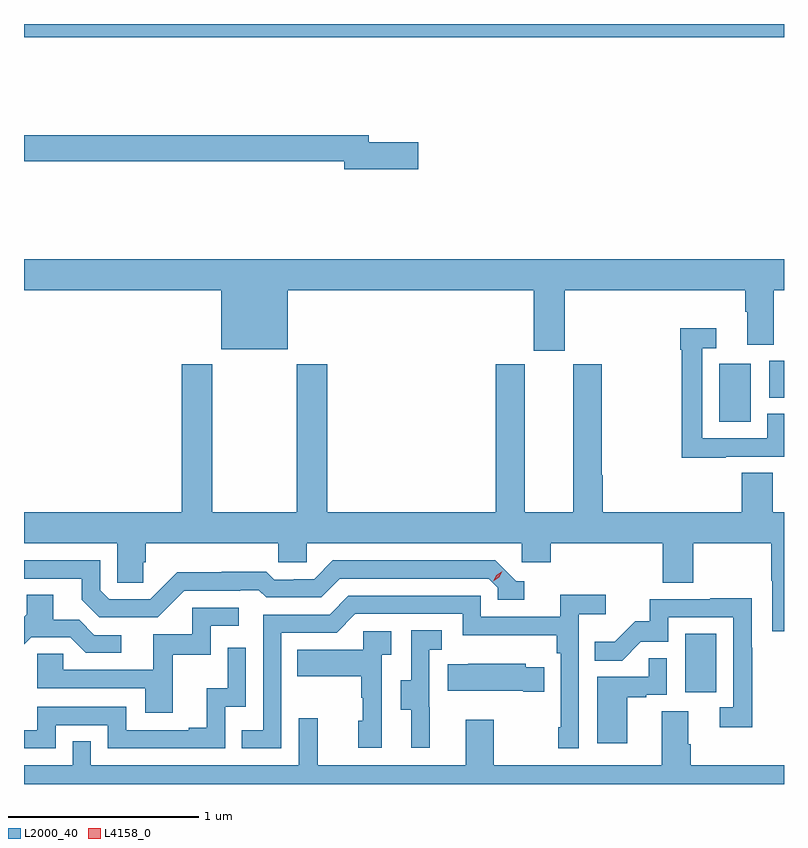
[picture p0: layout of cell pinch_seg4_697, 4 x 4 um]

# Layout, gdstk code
import gdstk
lib = gdstk.Library(unit=1e-6, precision=1e-09)
def R(c, l, rs):  # rectangles x0, y0, x1, y1
    for r in rs: c.add(gdstk.rectangle(r[:2], r[2:], *l))
def P(c, l, *ps):  # polygons
    for p in ps: c.add(gdstk.Polygon(p, *l))
L2000_40 = (2000, 40)
L4158_0 = (4158, 0)

pinch_seg4_697 = lib.new_cell('pinch_seg4_697')
R(pinch_seg4_697, L2000_40, [(1110.86,758.742,1111.024,759.049), (1111.04,760.164,1111.204,760.471), (1111.302,760.291,1111.38,760.485), (1107.38,762.188,1111.38,762.258)])
P(pinch_seg4_697, L2000_40, [(1109.455,761.636),(1109.194,761.636),(1109.194,761.672),(1107.38,761.672),(1107.38,761.536),(1109.066,761.536),(1109.066,761.494),(1109.455,761.494)],
  [(1110.226,760.856),(1111.175,760.856),(1111.175,760.744),(1111.187,760.744),(1111.187,760.57),(1111.327,760.57),(1111.327,760.856),(1111.38,760.856),(1111.38,761.02),(1107.38,761.02),(1107.38,760.856),(1108.418,760.856),(1108.418,760.547),(1108.768,760.547),(1108.768,760.856),(1110.062,760.856),(1110.062,760.539),(1110.226,760.539)],
  [(1111.073,759.981),(1111.38,759.981),(1111.38,760.206),(1111.293,760.206),(1111.293,760.077),(1110.951,760.077),(1110.951,760.551),(1111.024,760.551),(1111.024,760.657),(1110.835,760.657),(1110.835,760.544),(1110.843,760.544),(1110.843,759.976),(1111.073,759.976)],
  [(1111.38,759.688),(1111.322,759.688),(1111.322,759.896),(1111.157,759.896),(1111.157,759.688),(1110.425,759.688),(1110.425,759.884),(1110.42,759.884),(1110.42,760.467),(1110.272,760.467),(1110.272,759.688),(1110.016,759.688),(1110.016,760.467),(1109.864,760.467),(1109.864,759.688),(1108.976,759.688),(1108.976,760.468),(1108.816,760.468),(1108.816,759.688),(1108.371,759.688),(1108.371,760.468),(1108.211,760.468),(1108.211,759.688),(1107.38,759.688),(1107.38,759.524),(1107.87,759.524),(1107.87,759.316),(1108.007,759.316),(1108.007,759.426),(1108.022,759.426),(1108.022,759.524),(1108.719,759.524),(1108.719,759.426),(1108.869,759.426),(1108.869,759.524),(1110,759.524),(1110,759.426),(1110.152,759.426),(1110.152,759.524),(1110.743,759.524),(1110.743,759.316),(1110.903,759.316),(1110.903,759.524),(1111.312,759.524),(1111.312,759.328),(1111.319,759.328),(1111.319,759.063),(1111.38,759.063)],
  [(1108.224,759.276),(1108.517,759.276),(1108.517,759.279),(1108.616,759.279),(1108.655,759.24),(1108.944,759.24),(1109.043,759.339),(1109.826,759.339),(1109.874,759.291),(1109.874,759.228),(1110.013,759.228),(1110.013,759.324),(1109.97,759.324),(1109.859,759.435),(1109.006,759.435),(1108.907,759.336),(1108.8,759.336),(1108.8,759.333),(1108.697,759.333),(1108.655,759.376),(1108.422,759.376),(1108.422,759.373),(1108.186,759.373),(1108.044,759.231),(1107.828,759.231),(1107.78,759.279),(1107.78,759.435),(1107.38,759.435),(1107.38,759.339),(1107.683,759.339),(1107.683,759.229),(1107.777,759.135),(1108.083,759.135)],
  [(1107.892,759.042),(1107.75,759.042),(1107.67,759.122),(1107.535,759.122),(1107.535,759.254),(1107.395,759.254),(1107.395,759.152),(1107.38,759.137),(1107.38,758.993),(1107.417,759.03),(1107.623,759.03),(1107.704,758.949),(1107.892,758.949)],
  [(1108.734,759.054),(1109.025,759.054),(1109.124,759.153),(1109.688,759.153),(1109.688,759.041),(1110.184,759.041),(1110.184,758.945),(1110.204,758.945),(1110.204,758.557),(1110.192,758.557),(1110.192,758.445),(1110.3,758.445),(1110.3,759.152),(1110.442,759.152),(1110.442,759.254),(1110.203,759.254),(1110.203,759.138),(1109.784,759.138),(1109.784,759.249),(1109.087,759.249),(1108.988,759.15),(1108.638,759.15),(1108.638,758.541),(1108.525,758.541),(1108.525,758.445),(1108.734,758.445)],
  [(1111.214,758.975),(1111.209,758.975),(1111.209,759.236),(1110.991,759.236),(1110.991,759.231),(1110.673,759.231),(1110.673,759.114),(1110.596,759.114),(1110.489,759.007),(1110.385,759.007),(1110.385,758.908),(1110.529,758.908),(1110.627,759.006),(1110.771,759.006),(1110.771,759.135),(1111.113,759.135),(1111.113,758.661),(1111.041,758.661),(1111.041,758.556),(1111.214,758.556)],
  [(1108.163,758.937),(1108.362,758.937),(1108.362,759.09),(1108.51,759.09),(1108.51,759.186),(1108.266,759.186),(1108.266,759.045),(1108.061,759.045),(1108.061,758.859),(1107.587,758.859),(1107.587,758.943),(1107.45,758.943),(1107.45,758.763),(1108.019,758.763),(1108.019,758.634),(1108.163,758.634)],
  [(1109.516,758.661),(1109.514,758.661),(1109.514,758.965),(1109.578,758.965),(1109.578,759.068),(1109.418,759.068),(1109.418,758.805),(1109.363,758.805),(1109.363,758.65),(1109.417,758.65),(1109.417,758.448),(1109.516,758.448)],
  [(1109.262,758.939),(1109.314,758.939),(1109.314,759.063),(1109.166,759.063),(1109.166,758.965),(1108.819,758.965),(1108.819,758.825),(1109.154,758.825),(1109.154,758.711),(1109.164,758.711),(1109.164,758.592),(1109.138,758.592),(1109.138,758.448),(1109.262,758.448)],
  [(1107.546,758.568),(1107.822,758.568),(1107.822,758.445),(1108.44,758.445),(1108.44,758.664),(1108.548,758.664),(1108.548,758.974),(1108.452,758.974),(1108.452,758.762),(1108.343,758.762),(1108.343,758.554),(1108.247,758.554),(1108.247,758.541),(1107.918,758.541),(1107.918,758.664),(1107.45,758.664),(1107.45,758.541),(1107.38,758.541),(1107.38,758.445),(1107.546,758.445)],
  [(1110.556,758.715),(1110.656,758.715),(1110.656,758.727),(1110.762,758.727),(1110.762,758.921),(1110.667,758.921),(1110.667,758.823),(1110.398,758.823),(1110.398,758.472),(1110.556,758.472)],
  [(1110.119,758.872),(1110.021,758.872),(1110.021,758.89),(1109.719,758.89),(1109.719,758.887),(1109.611,758.887),(1109.611,758.75),(1110.008,758.75),(1110.008,758.743),(1110.119,758.743)],
  [(1111.38,758.356),(1110.89,758.356),(1110.89,758.468),(1110.877,758.468),(1110.877,758.642),(1110.737,758.642),(1110.737,758.356),(1109.853,758.356),(1109.853,758.596),(1109.705,758.596),(1109.705,758.356),(1108.925,758.356),(1108.925,758.605),(1108.827,758.605),(1108.827,758.356),(1107.732,758.356),(1107.732,758.483),(1107.636,758.483),(1107.636,758.356),(1107.38,758.356),(1107.38,758.258),(1111.38,758.258)])
P(pinch_seg4_697, L4158_0, [(1109.851,759.325),(1109.851,759.325),(1109.866,759.358),(1109.896,759.378),(1109.897,759.378),(1109.897,759.377),(1109.881,759.345),(1109.851,759.325)])

lib.write_gds('pinch_seg4_697.gds')
